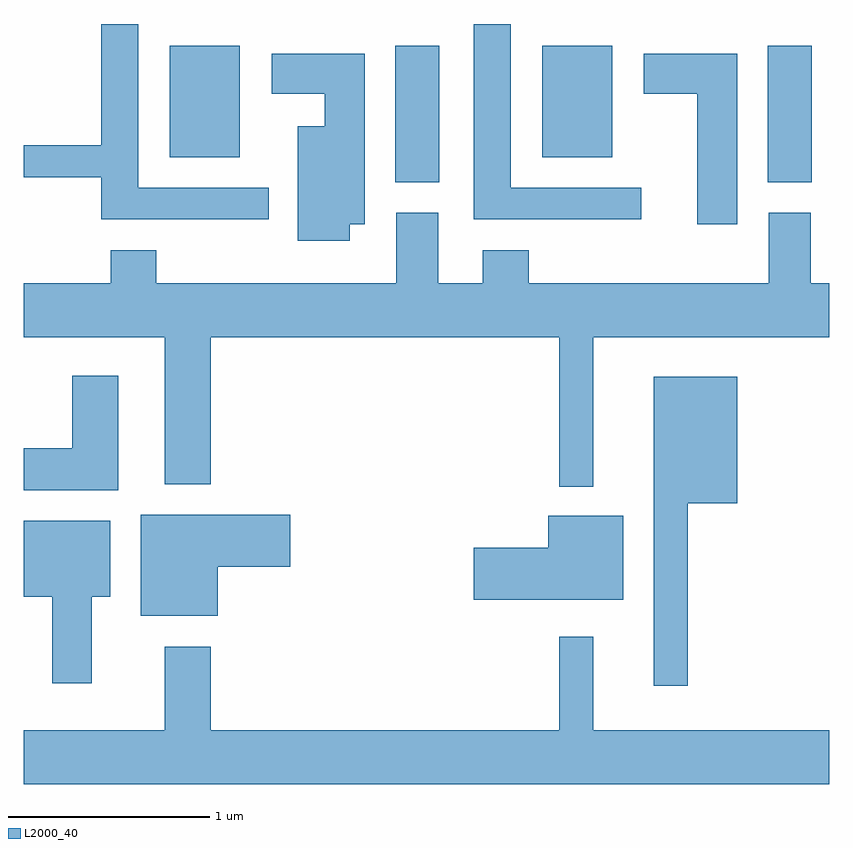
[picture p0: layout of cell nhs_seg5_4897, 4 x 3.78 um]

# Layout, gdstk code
import gdstk
lib = gdstk.Library(unit=1e-6, precision=1e-09)
def R(c, l, rs):  # rectangles x0, y0, x1, y1
    for r in rs: c.add(gdstk.rectangle(r[:2], r[2:], *l))
def P(c, l, *ps):  # polygons
    for p in ps: c.add(gdstk.Polygon(p, *l))
L2000_40 = (2000, 40)

nhs_seg5_4897 = lib.new_cell('nhs_seg5_4897')
R(nhs_seg5_4897, L2000_40, [(331.456,1515.286,331.674,1515.964), (333.306,1515.286,333.524,1515.964), (330.336,1515.411,330.684,1515.964), (332.186,1515.411,332.534,1515.964)])
P(nhs_seg5_4897, L2000_40, [(330.828,1515.259),(330.179,1515.259),(330.179,1516.072),(329.996,1516.072),(329.996,1515.469),(329.611,1515.469),(329.611,1515.311),(329.996,1515.311),(329.996,1515.101),(330.828,1515.101)],
  [(332.678,1515.259),(332.029,1515.259),(332.029,1516.072),(331.846,1516.072),(331.846,1515.101),(332.678,1515.101)],
  [(331.229,1515.076),(331.304,1515.076),(331.304,1515.924),(330.841,1515.924),(330.841,1515.726),(331.106,1515.726),(331.106,1515.564),(330.971,1515.564),(330.971,1514.996),(331.229,1514.996)],
  [(333.154,1515.924),(332.691,1515.924),(332.691,1515.726),(332.956,1515.726),(332.956,1515.076),(333.154,1515.076)],
  [(332.439,1514.516),(333.611,1514.516),(333.611,1514.784),(333.519,1514.784),(333.519,1515.134),(333.311,1515.134),(333.311,1514.784),(332.119,1514.784),(332.119,1514.949),(331.891,1514.949),(331.891,1514.784),(331.669,1514.784),(331.669,1515.134),(331.461,1515.134),(331.461,1514.784),(330.269,1514.784),(330.269,1514.949),(330.041,1514.949),(330.041,1514.784),(329.611,1514.784),(329.611,1514.516),(330.311,1514.516),(330.311,1513.786),(330.539,1513.786),(330.539,1514.516),(332.271,1514.516),(332.271,1513.773),(332.439,1513.773)],
  [(330.079,1514.324),(329.851,1514.324),(329.851,1513.964),(329.611,1513.964),(329.611,1513.756),(330.079,1513.756)],
  [(332.909,1513.691),(333.154,1513.691),(333.154,1514.319),(332.741,1514.319),(332.741,1512.783),(332.909,1512.783)],
  [(330.574,1513.376),(330.934,1513.376),(330.934,1513.634),(330.191,1513.634),(330.191,1513.131),(330.574,1513.131)],
  [(332.589,1513.629),(332.216,1513.629),(332.216,1513.469),(331.846,1513.469),(331.846,1513.211),(332.589,1513.211)],
  [(329.949,1513.226),(330.039,1513.226),(330.039,1513.604),(329.611,1513.604),(329.611,1513.226),(329.751,1513.226),(329.751,1512.796),(329.949,1512.796)],
  [(333.611,1512.564),(332.439,1512.564),(332.439,1513.028),(332.271,1513.028),(332.271,1512.564),(330.539,1512.564),(330.539,1512.979),(330.311,1512.979),(330.311,1512.564),(329.611,1512.564),(329.611,1512.296),(333.611,1512.296)])

lib.write_gds('nhs_seg5_4897.gds')
